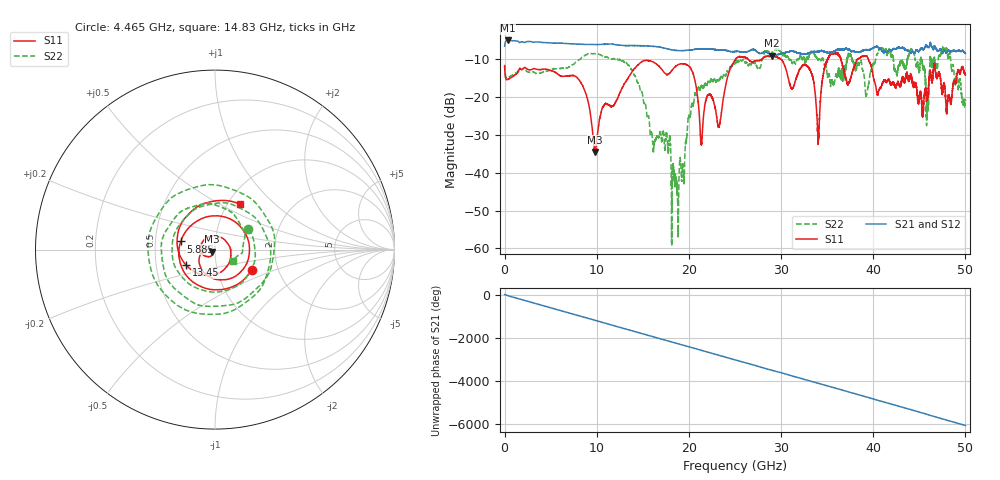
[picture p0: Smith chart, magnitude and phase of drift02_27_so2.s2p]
!Created with skrf (http://scikit-rf.org).
# Hz S RI R 50.0
!freq ReS11 ImS11 ReS21 ImS21 ReS12 ImS12 ReS22 ImS22
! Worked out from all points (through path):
!   10001 points, 300 kHz to 50 GHz, reference 50 ohm
!   highest |S21| = -5.04 dB at 325.3 MHz (marker M1); lowest = -9.0 dB at 29.05 GHz (marker M2)
!   group delay of S21, straight-line fit = 336 ps
!   lowest |S11| = -34.5 dB at 9.84 GHz (marker M3), VSWR 1.04, Z = 48.5 - j1.04 ohm
!   |S11| at or under -10 dB: start of sweep to 25.08 GHz; 29.98 GHz to 35.05 GHz (5.071 GHz wide, 15.6 % of centre); 39.47 GHz to end of sweep (the widest 3 of 8)
!   |S22| runs from -59.4 to -6.8 dB; largest |S21 - S12| = 0.022
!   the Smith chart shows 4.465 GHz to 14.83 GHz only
!   S11 on the Smith chart (normalised r, x): 4.465 GHz: 1.47, -0.34; 5.885 GHz: 0.68, +0.06; 13.45 GHz: 0.71, -0.13; 14.83 GHz: 1.14, +0.63
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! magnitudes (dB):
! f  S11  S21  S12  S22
! 300 kHz  -11.7  -6.5  -6.4  -11.7
! 325.3 MHz  -15.4  -5.0  -5.0  -15.0
! 4.465 GHz  -12.6  -5.6  -5.6  -13.2
! 5.885 GHz  -14.1  -5.7  -5.7  -12.5
! 8.335 GHz  -16.4  -6.0  -6.0  -9.6
! 9.84 GHz  -34.5  -6.1  -6.1  -8.5
! 13.45 GHz  -14.8  -6.4  -6.4  -11.6
! 14.83 GHz  -10.8  -6.4  -6.4  -18.6
! 16.67 GHz  -11.6  -6.7  -6.7  -30.7
! 18.68 GHz  -11.7  -7.7  -7.7  -43.5
! 20.37 GHz  -13.3  -7.5  -7.5  -22.0
! 21.37 GHz  -32.3  -7.2  -7.3  -17.0
! 23.31 GHz  -27.5  -7.6  -7.6  -15.6
! 25 GHz  -10.3  -8.0  -8.0  -11.1
! 29.05 GHz  -9.1  -9.0  -9.0  -8.2
! 33.34 GHz  -14.0  -8.1  -8.1  -8.1
! 34.02 GHz  -30.9  -7.9  -7.9  -10.2
! 35.51 GHz  -8.5  -8.1  -8.2  -15.5
! 41.67 GHz  -15.4  -7.7  -7.8  -7.4
! 45.85 GHz  -21.0  -6.7  -6.7  -23.4
! 47.77 GHz  -17.7  -7.6  -7.6  -7.3
! 50 GHz  -14.1  -8.5  -8.4  -21.0
